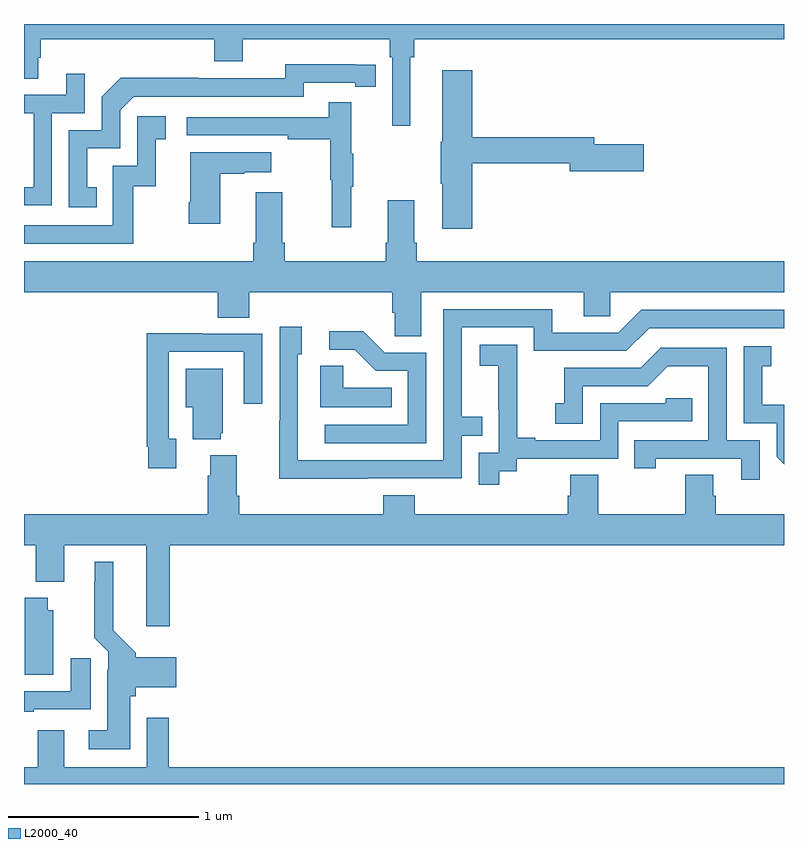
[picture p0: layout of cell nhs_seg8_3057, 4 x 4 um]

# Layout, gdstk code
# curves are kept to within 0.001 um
import gdstk
lib = gdstk.Library(unit=1e-6, precision=1e-09)
def P(c, l, *ps):  # polygons
    for p in ps: c.add(gdstk.Polygon(p, *l))
L2000_40 = (2000, 40)

nhs_seg8_3057 = lib.new_cell('nhs_seg8_3057')
P(nhs_seg8_3057, L2000_40, [(301,1129.612),(301.075,1129.612),(301.075,1129.722),(301.088,1129.722),(301.088,1129.82),(302,1129.82),(302,1129.703),(302.152,1129.703),(302.152,1129.82),(302.924,1129.82),(302.924,1129.724),(302.937,1129.724),(302.937,1129.365),(303.034,1129.365),(303.034,1129.724),(303.053,1129.724),(303.053,1129.82),(305,1129.82),(305,1129.9),(301,1129.9)],
  [(301.382,1129.041),(301.333,1129.041),(301.333,1129.245),(301.506,1129.245),(301.506,1129.446),(301.578,1129.518),(302.472,1129.518),(302.472,1129.59),(302.744,1129.59),(302.744,1129.57),(302.852,1129.57),(302.852,1129.686),(302.376,1129.687),(302.376,1129.614),(301.916,1129.614),(301.916,1129.616),(301.508,1129.616),(301.41,1129.518),(301.41,1129.341),(301.236,1129.341),(301.236,1128.936),(301.382,1128.936)],
  [(303.359,1129.168),(303.872,1129.168),(303.872,1129.126),(304.261,1129.126),(304.261,1129.268),(304,1129.268),(304,1129.304),(303.359,1129.304),(303.359,1129.657),(303.2,1129.657),(303.2,1129.281),(303.193,1129.281),(303.193,1129.06),(303.2,1129.06),(303.2,1128.822),(303.359,1128.822)],
  [(301.146,1129.431),(301.32,1129.431),(301.32,1129.639),(301.223,1129.639),(301.223,1129.527),(301,1129.527),(301,1129.431),(301.05,1129.431),(301.05,1129.042),(301,1129.042),(301,1128.945),(301.146,1128.945)],
  [(302.723,1129.043),(302.734,1129.043),(302.734,1129.217),(302.723,1129.217),(302.723,1129.489),(302.605,1129.489),(302.605,1129.41),(301.857,1129.41),(301.857,1129.314),(302.389,1129.314),(302.389,1129.294),(302.613,1129.294),(302.613,1129.08),(302.62,1129.08),(302.62,1128.831),(302.723,1128.831)],
  [(301.576,1129.047),(301.694,1129.047),(301.694,1129.293),(301.747,1129.293),(301.747,1129.414),(301.596,1129.414),(301.596,1129.155),(301.467,1129.155),(301.467,1128.84),(301,1128.84),(301,1128.744),(301.576,1128.744)],
  [(302.032,1129.111),(302.159,1129.111),(302.159,1129.121),(302.302,1129.121),(302.302,1129.225),(301.874,1129.225),(301.874,1128.961),(301.867,1128.961),(301.867,1128.849),(302.032,1128.849)],
  [(303.091,1128.488),(303.947,1128.488),(303.947,1128.361),(304.086,1128.361),(304.086,1128.488),(305,1128.488),(305,1128.652),(303.068,1128.652),(303.068,1128.748),(303.055,1128.748),(303.055,1128.973),(302.915,1128.973),(302.915,1128.748),(302.903,1128.748),(302.903,1128.652),(302.372,1128.652),(302.372,1128.748),(302.359,1128.748),(302.359,1129.015),(302.219,1129.015),(302.219,1128.748),(302.207,1128.748),(302.207,1128.652),(301,1128.652),(301,1128.488),(302.021,1128.488),(302.021,1128.355),(302.186,1128.355),(302.186,1128.488),(302.939,1128.488),(302.939,1128.379),(302.952,1128.379),(302.952,1128.256),(303.091,1128.256)],
  [(302.807,1127.508),(303.303,1127.508),(303.303,1127.733),(303.413,1127.733),(303.413,1127.834),(303.303,1127.834),(303.303,1128.303),(303.684,1128.303),(303.684,1128.18),(304.17,1128.18),(304.29,1128.3),(305,1128.3),(305,1128.396),(304.248,1128.396),(304.128,1128.276),(303.781,1128.276),(303.781,1128.399),(303.207,1128.399),(303.207,1127.604),(302.442,1127.604),(302.442,1128.162),(302.461,1128.162),(302.461,1128.307),(302.346,1128.307),(302.346,1127.813),(302.344,1127.813),(302.344,1127.507)],
  [(303.117,1128.171),(302.898,1128.171),(302.785,1128.284),(302.607,1128.284),(302.607,1128.186),(302.741,1128.186),(302.852,1128.075),(303.021,1128.075),(303.021,1127.79),(302.583,1127.79),(302.583,1127.694),(303.117,1127.694)],
  [(301.801,1127.718),(301.761,1127.718),(301.761,1128.174),(302.157,1128.174),(302.157,1127.901),(302.253,1127.901),(302.253,1128.27),(301.937,1128.27),(301.937,1128.272),(301.645,1128.272),(301.645,1127.674),(301.653,1127.674),(301.653,1127.562),(301.801,1127.562)],
  [(303.502,1127.545),(303.594,1127.545),(303.594,1127.613),(304.128,1127.613),(304.128,1127.808),(304.517,1127.808),(304.517,1127.931),(304.377,1127.931),(304.377,1127.904),(304.032,1127.904),(304.032,1127.709),(303.691,1127.709),(303.691,1127.722),(303.596,1127.722),(303.596,1128.005),(303.597,1128.005),(303.597,1128.211),(303.399,1128.211),(303.399,1128.101),(303.497,1128.101),(303.497,1127.873),(303.498,1127.873),(303.498,1127.643),(303.393,1127.643),(303.393,1127.475),(303.502,1127.475)],
  [(305,1127.895),(304.885,1127.895),(304.885,1128.099),(304.934,1128.099),(304.934,1128.205),(304.788,1128.205),(304.788,1127.799),(304.962,1127.799),(304.962,1127.622),(305,1127.584)],
  [(304.872,1127.709),(304.698,1127.709),(304.698,1128.195),(304.352,1128.195),(304.247,1128.09),(303.844,1128.09),(303.844,1127.905),(303.795,1127.905),(303.795,1127.796),(303.942,1127.796),(303.942,1127.994),(304.284,1127.994),(304.388,1128.098),(304.602,1128.098),(304.602,1127.709),(304.213,1127.709),(304.213,1127.562),(304.324,1127.562),(304.324,1127.613),(304.775,1127.613),(304.775,1127.502),(304.872,1127.502)],
  [(302.936,1127.986),(302.679,1127.986),(302.679,1128.101),(302.558,1128.101),(302.558,1127.882),(302.936,1127.882)],
  [(302.036,1127.745),(302.047,1127.745),(302.047,1128.085),(301.85,1128.085),(301.85,1127.882),(301.889,1127.882),(301.889,1127.714),(302.036,1127.714)],
  [(301.766,1127.156),(305,1127.156),(305,1127.32),(304.64,1127.32),(304.64,1127.418),(304.627,1127.418),(304.627,1127.528),(304.48,1127.528),(304.48,1127.32),(304.023,1127.32),(304.023,1127.528),(303.875,1127.528),(303.875,1127.418),(303.863,1127.418),(303.863,1127.32),(303.056,1127.32),(303.056,1127.419),(302.891,1127.419),(302.891,1127.32),(302.132,1127.32),(302.132,1127.416),(302.119,1127.416),(302.119,1127.629),(301.979,1127.629),(301.979,1127.522),(301.967,1127.522),(301.967,1127.32),(301,1127.32),(301,1127.156),(301.061,1127.156),(301.061,1126.964),(301.213,1126.964),(301.213,1127.156),(301.643,1127.156),(301.643,1126.731),(301.766,1126.731)],
  [(301.558,1126.362),(301.589,1126.362),(301.589,1126.409),(301.801,1126.409),(301.801,1126.567),(301.589,1126.567),(301.589,1126.59),(301.471,1126.708),(301.471,1127.071),(301.373,1127.071),(301.373,1126.961),(301.369,1126.961),(301.369,1126.67),(301.443,1126.596),(301.443,1126.502),(301.439,1126.502),(301.439,1126.183),(301.341,1126.183),(301.341,1126.082),(301.558,1126.082)],
  [(301.153,1126.815),(301.126,1126.815),(301.126,1126.879),(301.004,1126.879),(301.004,1126.474),(301.153,1126.474)],
  [(301.051,1126.293),(301.351,1126.293),(301.351,1126.561),(301.247,1126.561),(301.247,1126.389),(301,1126.389),(301,1126.281),(301.051,1126.281)],
  [(305,1125.988),(301.763,1125.988),(301.763,1126.249),(301.647,1126.249),(301.647,1125.988),(301.213,1125.988),(301.213,1126.183),(301.073,1126.183),(301.073,1125.988),(301,1125.988),(301,1125.9),(305,1125.9)])

lib.write_gds('nhs_seg8_3057.gds')
